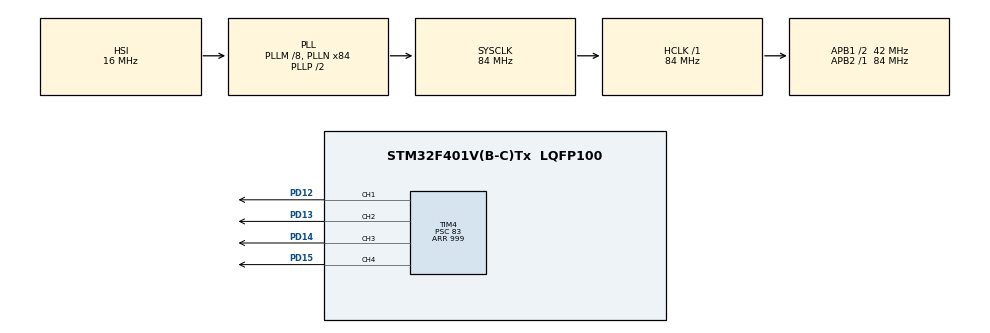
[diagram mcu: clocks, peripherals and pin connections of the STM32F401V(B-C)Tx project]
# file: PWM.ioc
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Mcu.Family=STM32F4
Mcu.Name=STM32F401V(B-C)Tx
Mcu.Package=LQFP100
NVIC.PriorityGroup=NVIC_PRIORITYGROUP_4
PD12.Signal=S_TIM4_CH1
PD13.Signal=S_TIM4_CH2
PD14.Signal=S_TIM4_CH3
PD15.Signal=S_TIM4_CH4
PH0\ -\ OSC_IN.Mode=HSE-External-Oscillator
PH0\ -\ OSC_IN.Signal=RCC_OSC_IN
PH1\ -\ OSC_OUT.Mode=HSE-External-Oscillator
PH1\ -\ OSC_OUT.Signal=RCC_OSC_OUT
ProjectManager.HeapSize=0x200
ProjectManager.StackSize=0x400
ProjectManager.TargetToolchain=MDK-ARM V5
RCC.48MHZClocksFreq_Value=42000000
RCC.AHBFreq_Value=84000000
RCC.APB1CLKDivider=RCC_HCLK_DIV2
RCC.APB1Freq_Value=42000000
RCC.APB1TimFreq_Value=84000000
RCC.APB2Freq_Value=84000000
RCC.APB2TimFreq_Value=84000000
RCC.CortexFreq_Value=84000000
RCC.HCLKFreq_Value=84000000
RCC.HSE_VALUE=25000000
RCC.HSI_VALUE=16000000
RCC.LSE_VALUE=32768
RCC.PLLM=8
RCC.PLLN=84
RCC.SYSCLKFreq_VALUE=84000000
RCC.SYSCLKSource=RCC_SYSCLKSOURCE_PLLCLK
RCC.VCOOutputFreq_Value=168000000
SH.S_TIM4_CH1.0=TIM4_CH1,PWM Generation1 CH1
SH.S_TIM4_CH2.0=TIM4_CH2,PWM Generation2 CH2
SH.S_TIM4_CH3.0=TIM4_CH3,PWM Generation3 CH3
SH.S_TIM4_CH4.0=TIM4_CH4,PWM Generation4 CH4
TIM4.Channel-PWM\ Generation1\ CH1=TIM_CHANNEL_1
TIM4.Channel-PWM\ Generation2\ CH2=TIM_CHANNEL_2
TIM4.Channel-PWM\ Generation3\ CH3=TIM_CHANNEL_3
TIM4.Channel-PWM\ Generation4\ CH4=TIM_CHANNEL_4
TIM4.Period=999
TIM4.Prescaler=83
board=PWM

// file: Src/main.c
/**
  ******************************************************************************
  * File Name          : main.c
  * Description        : Main program body
  ******************************************************************************
  ** This notice applies to any and all portions of this file
  * that are not between comment pairs USER CODE BEGIN and
  * USER CODE END. Other portions of this file, whether
  * inserted by the user or by software development tools
  * are owned by their respective copyright owners.
  *
  * COPYRIGHT(c) 2017 STMicroelectronics
  *
  * Redistribution and use in source and binary forms, with or without modification,
  * are permitted provided that the following conditions are met:
  *   1. Redistributions of source code must retain the above copyright notice,
  *      this list of conditions and the following disclaimer.
  *   2. Redistributions in binary form must reproduce the above copyright notice,
  *      this list of conditions and the following disclaimer in the documentation
  *      and/or other materials provided with the distribution.
  *   3. Neither the name of STMicroelectronics nor the names of its contributors
  *      may be used to endorse or promote products derived from this software
  *      without specific prior written permission.
  *
  * THIS SOFTWARE IS PROVIDED BY THE COPYRIGHT HOLDERS AND CONTRIBUTORS "AS IS"
  * AND ANY EXPRESS OR IMPLIED WARRANTIES, INCLUDING, BUT NOT LIMITED TO, THE
  * IMPLIED WARRANTIES OF MERCHANTABILITY AND FITNESS FOR A PARTICULAR PURPOSE ARE
  * DISCLAIMED. IN NO EVENT SHALL THE COPYRIGHT HOLDER OR CONTRIBUTORS BE LIABLE
  * FOR ANY DIRECT, INDIRECT, INCIDENTAL, SPECIAL, EXEMPLARY, OR CONSEQUENTIAL
  * DAMAGES (INCLUDING, BUT NOT LIMITED TO, PROCUREMENT OF SUBSTITUTE GOODS OR
  * SERVICES; LOSS OF USE, DATA, OR PROFITS; OR BUSINESS INTERRUPTION) HOWEVER
  * CAUSED AND ON ANY THEORY OF LIABILITY, WHETHER IN CONTRACT, STRICT LIABILITY,
  * OR TORT (INCLUDING NEGLIGENCE OR OTHERWISE) ARISING IN ANY WAY OUT OF THE USE
  * OF THIS SOFTWARE, EVEN IF ADVISED OF THE POSSIBILITY OF SUCH DAMAGE.
  *
  ******************************************************************************
  */
#include "main.h"
#include "stm32f4xx_hal.h"
#include "tim.h"
#include "gpio.h"

/* USER CODE BEGIN Includes */
#define DELAY 1
#define BRIGHTNESS 200
/* USER CODE END Includes */

/* USER CODE BEGIN PV */
/* Private variables ---------------------------------------------------------*/

/* USER CODE END PV */

void SystemClock_Config(void);

/* USER CODE BEGIN PFP */
/* Private function prototypes -----------------------------------------------*/

/* USER CODE END PFP */

int main(void)
{
	int i = 0, j = 1, power = 0;

  /* MCU Configuration----------------------------------------------------------*/

  /* Reset of all peripherals, Initializes the Flash interface and the Systick. */
  HAL_Init();

  /* Configure the system clock */
  SystemClock_Config();

  /* Initialize all configured peripherals */
  MX_GPIO_Init();
  MX_TIM4_Init();

  /* USER CODE BEGIN 2 */
	HAL_TIM_PWM_Start(&htim4, TIM_CHANNEL_1);
	HAL_TIM_PWM_Start(&htim4, TIM_CHANNEL_2);
	HAL_TIM_PWM_Start(&htim4, TIM_CHANNEL_3);
	HAL_TIM_PWM_Start(&htim4, TIM_CHANNEL_4);
	TIM4->CCR1 = 0;
	TIM4->CCR2 = 0;
	TIM4->CCR3 = 0;
	TIM4->CCR4 = 0;
  /* USER CODE END 2 */

  /* Infinite loop */
  while (1)
  {

  /* USER CODE BEGIN 3 */
		if (i == 0)
			TIM4->CCR1 = power;
		if (i == 1)
			TIM4->CCR2 = power;
		if (i == 2)
			TIM4->CCR3 = power;
		if (i == 3)
			TIM4->CCR4 = power;

		HAL_Delay(DELAY);
		if (j) {
			power++;
			if (power > BRIGHTNESS) {
				i++;
				if (i > 3) {
					i = 0;
					j = 0;
				} else
					power = 0;
			}
		} else {
			power--;
			if (power < 1) {
				i++;
				if (i > 3) {
					i = 0;
					j = 1;
				} else
					power = BRIGHTNESS;
			}
		}

  }
  /* USER CODE END 3 */

}

/** System Clock Configuration
*/
void SystemClock_Config(void)
{

  RCC_OscInitTypeDef RCC_OscInitStruct;
  RCC_ClkInitTypeDef RCC_ClkInitStruct;

    /**Configure the main internal regulator output voltage
    */
  __HAL_RCC_PWR_CLK_ENABLE();

  __HAL_PWR_VOLTAGESCALING_CONFIG(PWR_REGULATOR_VOLTAGE_SCALE2);

    /**Initializes the CPU, AHB and APB busses clocks
    */
  RCC_OscInitStruct.OscillatorType = RCC_OSCILLATORTYPE_HSI;
  RCC_OscInitStruct.HSIState = RCC_HSI_ON;
  RCC_OscInitStruct.HSICalibrationValue = 16;
  RCC_OscInitStruct.PLL.PLLState = RCC_PLL_ON;
  RCC_OscInitStruct.PLL.PLLSource = RCC_PLLSOURCE_HSI;
  RCC_OscInitStruct.PLL.PLLM = 8;
  RCC_OscInitStruct.PLL.PLLN = 84;
  RCC_OscInitStruct.PLL.PLLP = RCC_PLLP_DIV2;
  RCC_OscInitStruct.PLL.PLLQ = 4;
  if (HAL_RCC_OscConfig(&RCC_OscInitStruct) != HAL_OK)
  {
    _Error_Handler(__FILE__, __LINE__);
  }

    /**Initializes the CPU, AHB and APB busses clocks
    */
  RCC_ClkInitStruct.ClockType = RCC_CLOCKTYPE_HCLK|RCC_CLOCKTYPE_SYSCLK
                              |RCC_CLOCKTYPE_PCLK1|RCC_CLOCKTYPE_PCLK2;
  RCC_ClkInitStruct.SYSCLKSource = RCC_SYSCLKSOURCE_PLLCLK;
  RCC_ClkInitStruct.AHBCLKDivider = RCC_SYSCLK_DIV1;
  RCC_ClkInitStruct.APB1CLKDivider = RCC_HCLK_DIV2;
  RCC_ClkInitStruct.APB2CLKDivider = RCC_HCLK_DIV1;

  if (HAL_RCC_ClockConfig(&RCC_ClkInitStruct, FLASH_LATENCY_2) != HAL_OK)
  {
    _Error_Handler(__FILE__, __LINE__);
  }

    /**Configure the Systick interrupt time
    */
  HAL_SYSTICK_Config(HAL_RCC_GetHCLKFreq()/1000);

    /**Configure the Systick
    */
  HAL_SYSTICK_CLKSourceConfig(SYSTICK_CLKSOURCE_HCLK);

  /* SysTick_IRQn interrupt configuration */
  HAL_NVIC_SetPriority(SysTick_IRQn, 0, 0);
}

void _Error_Handler(char * file, int line)
{
  while(1)
  {
  }
}

/************************ (C) COPYRIGHT STMicroelectronics *****END OF FILE****/
